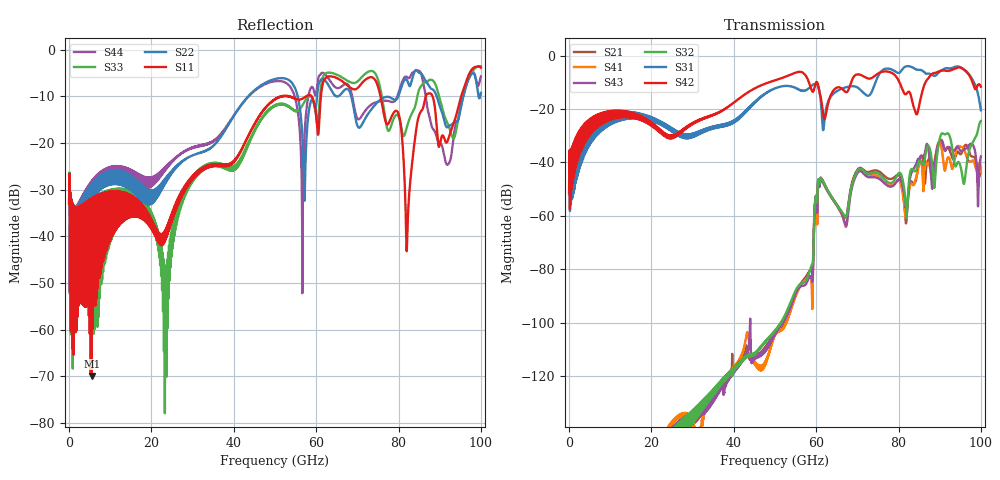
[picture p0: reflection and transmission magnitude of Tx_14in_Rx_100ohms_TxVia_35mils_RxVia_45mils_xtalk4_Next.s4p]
! Info: Touchstone file created by Circ.  Input file=Tx_14in_Rx_100ohms_TxVia_35mils_RxVia_45mils.circ
# Hz S RI R 50
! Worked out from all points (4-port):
!   10000 points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, 10 MHz to 100 GHz, reference 50 ohm
!   strongest paths, dB at 10 MHz, 25.01 GHz, 50.01 GHz, 75.01 GHz, 100 GHz:
!     S42: -51.3, -30.9, -9.3, -6.7, -11.6
!     S31: -51.9, -28.5, -12.3, -7.8, -20.5
!     S32: -, -144.5, -102.9, -44.1, -24.5
!     S43: -, -140.6, -103.9, -45.9, -37.8
!     S41: -, -137.9, -104.3, -45.2, -43.5
!     S21: -, -142.7, -104.3, -43.2, -42.0
!   lowest |S11| = -69.9 dB at 5.49 GHz (marker M1), VSWR 1.00, Z = 50 - j0.0114 ohm
!   |S11| at or under -10 dB: start of sweep to 51.31 GHz; 75.63 GHz to 86.6 GHz (10.98 GHz wide, 13.5 % of centre); 88.27 GHz to 95.2 GHz (6.934 GHz wide, 7.56 % of centre)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
1e7  0.021 0.00816  9.02e-12 3.67e-12  0.000506 0.00249  1.1e-11 9.51e-12
     9.02e-12 3.67e-12  0.0216 0.00817  9.36e-12 4.55e-12  0.000991 0.00252
     0.000506 0.00249  9.36e-12 4.55e-12  0.0202 0.00861  8.56e-12 4.41e-12
     1.1e-11 9.51e-12  0.000991 0.00252  8.56e-12 4.41e-12  0.0214 0.00821
5.49e9  0.000297 -0.000114  3.68e-09 2.16e-09  0.0182 0.0159  2.97e-09 6.17e-10
        3.68e-09 2.16e-09  0.0216 0.0124  5.63e-09 3.64e-09  0.0295 0.0196
        0.0182 0.0159  5.63e-09 3.64e-09  -0.00179 4.62e-06  4.65e-09 2.29e-09
        2.97e-09 6.17e-10  0.0295 0.0196  4.65e-09 2.29e-09  0.0244 0.0141
2.347e10  0.00526 0.00763  5.31e-08 4.32e-08  -0.0287 -0.0426  8.39e-08 4.38e-08
          5.31e-08 4.32e-08  -0.021 0.0359  6.79e-08 1.02e-08  -0.0343 0.0016
          -0.0287 -0.0426  6.79e-08 1.02e-08  0.00014 -0.000481  5.75e-08 5.05e-08
          8.39e-08 4.38e-08  -0.0343 0.0016  5.75e-08 5.05e-08  -0.0323 0.0447
5.817e10  0.3232 0.0506  2.14e-06 8.65e-05  0.1411 -0.1954  1.7e-05 7.17e-05
          2.14e-06 8.65e-05  0.1961 0.0768  -3.76e-06 8.04e-05  -0.2592 0.1982
          0.1411 -0.1954  -3.76e-06 8.04e-05  0.286 0.1308  8.42e-06 6.62e-05
          1.7e-05 7.17e-05  -0.2592 0.1982  8.42e-06 6.62e-05  0.2877 0.1588
6.096e10  0.1742 0.1775  0.0044 -0.00227  -0.178 0.00589  0.00399 -0.00209
          0.0044 -0.00227  0.428 -0.1721  0.00417 -0.00244  0.0457 0.1837
          -0.178 0.00589  0.00417 -0.00244  0.2089 0.2553  0.00375 -0.00225
          0.00399 -0.00209  0.0457 0.1837  0.00375 -0.00225  0.4983 -0.2027
8.211e10  0.00556 -0.00765  -0.00136 -4.46e-05  -0.0737 -0.6282  -0.00128 0.000667
          -0.00136 -4.46e-05  -0.1652 -0.4388  -0.000205 -0.00138  -0.0381 0.1959
          -0.0737 -0.6282  -0.000205 -0.00138  0.0736 -0.1337  0.000124 -0.00161
          -0.00128 0.000667  -0.0381 0.1959  0.000124 -0.00161  -0.1114 -0.4961
1e11  -0.5377 0.3524  -0.0057 -0.00549  0.0557 0.0759  0.0062 -0.00258
      -0.0057 -0.00549  -0.3443 0.0315  -0.0213 -0.0556  0.0185 0.261
      0.0557 0.0759  -0.0213 -0.0556  -0.5737 0.34  0.00715 0.0107
      0.0062 -0.00258  0.0185 0.261  0.00715 0.0107  -0.5122 0.0748
